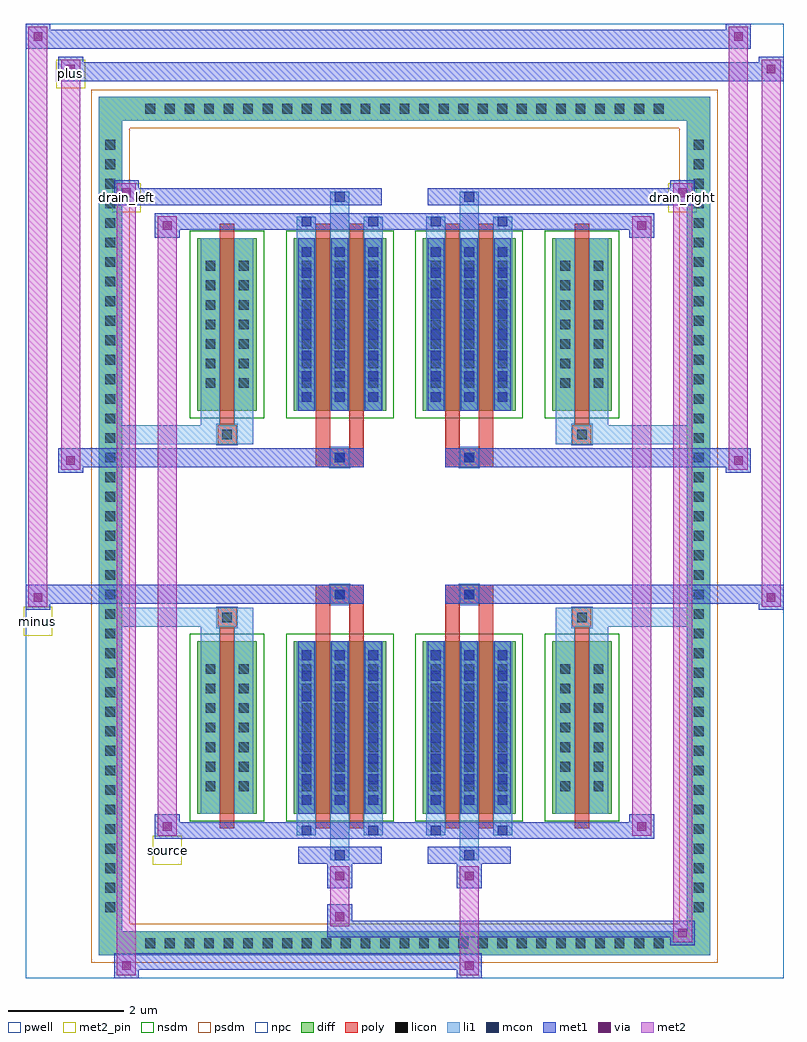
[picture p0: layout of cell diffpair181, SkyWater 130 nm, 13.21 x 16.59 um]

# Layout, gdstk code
import gdstk
lib = gdstk.Library(unit=1e-6, precision=5e-09)
def R(c, l, rs):  # rectangles x0, y0, x1, y1
    for r in rs: c.add(gdstk.rectangle(r[:2], r[2:], *l))
def A(c, l, x, y, w, h, nx, ny, dx, dy):  # array of equal rectangles
    R(c, l, [(x+i*dx, y+j*dy, x+i*dx+w, y+j*dy+h) for i in range(nx) for j in range(ny)])
def P(c, l, *ps):  # polygons
    for p in ps: c.add(gdstk.Polygon(p, *l))
pwell = (64, 44)
diff = (65, 20)
poly = (66, 20)
licon = (66, 44)
li1 = (67, 20)
mcon = (67, 44)
met1 = (68, 20)
via = (68, 44)
met2_pin = (69, 16)
met2 = (69, 20)
nsdm = (93, 44)
psdm = (94, 20)
npc = (95, 20)

diffpair181 = lib.new_cell('diffpair181')
R(diffpair181, pwell, [(-6.59,-7.86,6.59,8.73), (-3.91,-6.05,-0.01,-0.825), (0.01,-6.05,3.91,-0.825), (-3.91,0.825,-0.01,6.05), (0.01,0.825,3.91,6.05)])
A(diffpair181, diff, -4.625, -7.46, 0.41, 0.41, 27, 2, 0.34, 14.51)
A(diffpair181, diff, -5.32, -6.835, 0.41, 0.41, 1, 40, 0, 0.34)
A(diffpair181, diff, 4.91, -6.835, 0.41, 0.41, 1, 40, 0, 0.34)
R(diffpair181, diff, [(-4.625,-7.46,4.625,-7.05), (-5.32,-6.835,-4.91,6.835), (4.91,-6.835,5.32,6.835), (-3.6,-5.005,-2.57,-2.005), (-1.93,-5.005,-0.32,-2.005), (0.32,-5.005,1.93,-2.005), (2.57,-5.005,3.6,-2.005), (-3.6,2.005,-2.57,5.005), (-1.93,2.005,-0.32,5.005), (0.32,2.005,1.93,5.005), (2.57,2.005,3.6,5.005), (-4.625,7.05,4.625,7.46)])
P(diffpair181, diff, [(5.32,7.46),(-5.32,7.46),(-5.32,-7.05),(-4.91,-7.05),(-4.91,7.05),(4.91,7.05),(4.91,-7.05),(-4.91,-7.05),(-5.32,-7.05),(-5.32,-7.46),(5.32,-7.46)])
R(diffpair181, poly, [(-3.21,-5.255,-2.96,-1.755), (-1.54,-5.255,-1.29,-1.755), (-0.96,-5.255,-0.71,-1.755), (0.71,-5.255,0.96,-1.755), (1.29,-5.255,1.54,-1.755), (2.96,-5.255,3.21,-1.755), (-3.25,-1.755,-2.92,-1.425), (-3.25,-1.755,-2.92,-1.425), (-1.54,-1.755,-1.29,-1.355), (-0.96,-1.755,-0.71,-1.355), (0.71,-1.755,0.96,-1.355), (1.29,-1.755,1.54,-1.355), (2.92,-1.755,3.25,-1.425), (2.92,-1.755,3.25,-1.425), (-1.54,-1.355,-0.71,-1.025), (-1.29,-1.355,-0.96,-1.025), (0.71,-1.355,1.54,-1.025), (0.96,-1.355,1.29,-1.025), (-1.54,1.025,-0.71,1.355), (-1.29,1.025,-0.96,1.355), (0.71,1.025,1.54,1.355), (0.96,1.025,1.29,1.355), (-1.54,1.355,-1.29,1.755), (-0.96,1.355,-0.71,1.755), (0.71,1.355,0.96,1.755), (1.29,1.355,1.54,1.755), (-3.25,1.425,-2.92,1.755), (-3.25,1.425,-2.92,1.755), (2.92,1.425,3.25,1.755), (2.92,1.425,3.25,1.755), (-3.21,1.755,-2.96,5.255), (-1.54,1.755,-1.29,5.255), (-0.96,1.755,-0.71,5.255), (0.71,1.755,0.96,5.255), (1.29,1.755,1.54,5.255), (2.96,1.755,3.21,5.255)])
A(diffpair181, licon, -4.505, -7.34, 0.17, 0.17, 27, 2, 0.34, 14.51)
A(diffpair181, licon, -5.2, -6.715, 0.17, 0.17, 1, 40, 0, 0.34)
A(diffpair181, licon, 5.03, -6.715, 0.17, 0.17, 1, 40, 0, 0.34)
A(diffpair181, licon, -3.46, -4.61, 0.17, 0.17, 1, 7, 0, 0.34)
A(diffpair181, licon, -2.88, -4.61, 0.17, 0.17, 1, 7, 0, 0.34)
A(diffpair181, licon, -1.79, -4.61, 0.17, 0.17, 3, 7, 0.58, 0.34)
A(diffpair181, licon, 0.46, -4.61, 0.17, 0.17, 3, 7, 0.58, 0.34)
A(diffpair181, licon, 2.71, -4.61, 0.17, 0.17, 1, 7, 0, 0.34)
A(diffpair181, licon, 3.29, -4.61, 0.17, 0.17, 1, 7, 0, 0.34)
A(diffpair181, licon, -3.46, 2.4, 0.17, 0.17, 1, 7, 0, 0.34)
A(diffpair181, licon, -2.88, 2.4, 0.17, 0.17, 1, 7, 0, 0.34)
A(diffpair181, licon, -1.79, 2.4, 0.17, 0.17, 3, 7, 0.58, 0.34)
A(diffpair181, licon, 0.46, 2.4, 0.17, 0.17, 3, 7, 0.58, 0.34)
A(diffpair181, licon, 2.71, 2.4, 0.17, 0.17, 1, 7, 0, 0.34)
A(diffpair181, licon, 3.29, 2.4, 0.17, 0.17, 1, 7, 0, 0.34)
R(diffpair181, licon, [(-3.17,-1.675,-3,-1.505), (3,-1.675,3.17,-1.505), (-1.21,-1.275,-1.04,-1.105), (1.04,-1.275,1.21,-1.105), (-1.21,1.105,-1.04,1.275), (1.04,1.105,1.21,1.275), (-3.17,1.505,-3,1.675), (3,1.505,3.17,1.675)])
A(diffpair181, li1, -4.585, -7.42, 0.33, 0.33, 27, 2, 0.34, 14.51)
A(diffpair181, li1, -5.28, -6.795, 0.33, 0.33, 1, 40, 0, 0.34)
A(diffpair181, li1, 4.95, -6.795, 0.33, 0.33, 1, 40, 0, 0.34)
A(diffpair181, li1, -1.87, -5.005, 0.33, 3, 3, 2, 0.58, 7.01)
A(diffpair181, li1, 0.38, -5.005, 0.33, 3, 3, 2, 0.58, 7.01)
A(diffpair181, li1, -1.79, -4.85, 0.17, 0.17, 3, 8, 0.58, 0.36)
A(diffpair181, li1, -1.79, -4.85, 0.17, 2.69, 3, 2, 0.58, 7.01)
A(diffpair181, li1, 0.46, -4.85, 0.17, 0.17, 3, 8, 0.58, 0.36)
A(diffpair181, li1, 0.46, -4.85, 0.17, 2.69, 3, 2, 0.58, 7.01)
A(diffpair181, li1, -3.54, -4.69, 0.33, 0.33, 1, 7, 0, 0.34)
A(diffpair181, li1, -2.96, -4.69, 0.33, 0.33, 1, 7, 0, 0.34)
A(diffpair181, li1, -1.87, -4.69, 0.33, 0.33, 3, 7, 0.58, 0.34)
A(diffpair181, li1, 0.38, -4.69, 0.33, 0.33, 3, 7, 0.58, 0.34)
A(diffpair181, li1, 2.63, -4.69, 0.33, 0.33, 1, 7, 0, 0.34)
A(diffpair181, li1, 3.21, -4.69, 0.33, 0.33, 1, 7, 0, 0.34)
A(diffpair181, li1, -1.79, 2.16, 0.17, 0.17, 3, 8, 0.58, 0.36)
A(diffpair181, li1, 0.46, 2.16, 0.17, 0.17, 3, 8, 0.58, 0.36)
A(diffpair181, li1, -3.54, 2.32, 0.33, 0.33, 1, 7, 0, 0.34)
A(diffpair181, li1, -2.96, 2.32, 0.33, 0.33, 1, 7, 0, 0.34)
A(diffpair181, li1, -1.87, 2.32, 0.33, 0.33, 3, 7, 0.58, 0.34)
A(diffpair181, li1, 0.38, 2.32, 0.33, 0.33, 3, 7, 0.58, 0.34)
A(diffpair181, li1, 2.63, 2.32, 0.33, 0.33, 1, 7, 0, 0.34)
A(diffpair181, li1, 3.21, 2.32, 0.33, 0.33, 1, 7, 0, 0.34)
R(diffpair181, li1, [(-5.32,-7.46,-4.91,-7.05), (-5.32,-7.46,-4.91,-7.05), (-4.91,-7.46,4.91,-7.05), (4.91,-7.46,5.32,-7.05), (4.91,-7.46,5.32,-7.05), (-5.32,-7.05,-4.91,7.05), (4.91,-7.05,5.32,7.05), (-1.29,-5.81,-0.96,-5.005), (-1.21,-5.81,-1.04,-5.64), (0.96,-5.81,1.29,-5.005), (1.04,-5.81,1.21,-5.64), (-1.87,-5.38,-1.54,-5.005), (-1.79,-5.38,-1.62,-5.21), (-0.71,-5.38,-0.38,-5.005), (-0.63,-5.38,-0.46,-5.21), (0.38,-5.38,0.71,-5.005), (0.46,-5.38,0.63,-5.21), (1.54,-5.38,1.87,-5.005), (1.62,-5.38,1.79,-5.21), (-3.54,-5.005,-3.21,-2.005), (-2.96,-5.005,-2.63,-2.005), (2.63,-5.005,2.96,-2.005), (3.21,-5.005,3.54,-2.005), (-3.54,-2.005,-3.21,-1.425), (-2.96,-2.005,-2.63,-1.425), (2.63,-2.005,2.96,-1.425), (3.21,-2.005,3.54,-1.425), (-5.32,-1.755,-3.25,-1.425), (-3.54,-1.755,-3.25,-1.425), (-3.25,-1.755,-2.92,-1.425), (-2.92,-1.755,-2.63,-1.425), (2.63,-1.755,2.92,-1.425), (2.92,-1.755,3.25,-1.425), (2.92,-1.755,5.32,-1.425), (3.25,-1.755,3.54,-1.425), (-1.29,-1.355,-0.96,-1.025), (0.96,-1.355,1.29,-1.025), (-1.29,1.025,-0.96,1.355), (0.96,1.025,1.29,1.355), (-5.32,1.425,-3.25,1.755), (-3.54,1.425,-3.25,1.755), (-3.54,1.425,-3.21,2.005), (-3.25,1.425,-2.92,1.755), (-2.96,1.425,-2.63,2.005), (-2.92,1.425,-2.63,1.755), (2.63,1.425,2.92,1.755), (2.63,1.425,2.96,2.005), (2.92,1.425,3.25,1.755), (2.92,1.425,5.32,1.755), (3.21,1.425,3.54,2.005), (3.25,1.425,3.54,1.755), (-3.54,2.005,-3.21,5.005), (-2.96,2.005,-2.63,5.005), (2.63,2.005,2.96,5.005), (3.21,2.005,3.54,5.005), (-1.87,5.005,-1.54,5.38), (-1.29,5.005,-0.96,5.81), (-0.71,5.005,-0.38,5.38), (0.38,5.005,0.71,5.38), (0.96,5.005,1.29,5.81), (1.54,5.005,1.87,5.38), (-1.79,5.21,-1.62,5.38), (-0.63,5.21,-0.46,5.38), (0.46,5.21,0.63,5.38), (1.62,5.21,1.79,5.38), (-1.21,5.64,-1.04,5.81), (1.04,5.64,1.21,5.81), (-5.32,7.05,-4.91,7.46), (-5.32,7.05,-4.91,7.46), (-4.91,7.05,4.91,7.46), (4.91,7.05,5.32,7.46), (4.91,7.05,5.32,7.46)])
A(diffpair181, mcon, -1.79, -4.85, 0.17, 0.17, 3, 8, 0.58, 0.36)
A(diffpair181, mcon, 0.46, -4.85, 0.17, 0.17, 3, 8, 0.58, 0.36)
A(diffpair181, mcon, -1.79, 2.16, 0.17, 0.17, 3, 8, 0.58, 0.36)
A(diffpair181, mcon, 0.46, 2.16, 0.17, 0.17, 3, 8, 0.58, 0.36)
R(diffpair181, mcon, [(-1.21,-5.81,-1.04,-5.64), (1.04,-5.81,1.21,-5.64), (-1.79,-5.38,-1.62,-5.21), (-0.63,-5.38,-0.46,-5.21), (0.46,-5.38,0.63,-5.21), (1.62,-5.38,1.79,-5.21), (-1.21,-1.275,-1.04,-1.105), (1.04,-1.275,1.21,-1.105), (-1.21,1.105,-1.04,1.275), (1.04,1.105,1.21,1.275), (-1.79,5.21,-1.62,5.38), (-0.63,5.21,-0.46,5.38), (0.46,5.21,0.63,5.38), (1.62,5.21,1.79,5.38), (-1.21,5.64,-1.04,5.81), (1.04,5.64,1.21,5.81)])
A(diffpair181, met1, -1.85, -5.005, 0.29, 3, 3, 2, 0.58, 7.01)
A(diffpair181, met1, 0.4, -5.005, 0.29, 3, 3, 2, 0.58, 7.01)
A(diffpair181, met1, -1.85, -4.91, 0.29, 0.29, 3, 8, 0.58, 0.36)
A(diffpair181, met1, 0.4, -4.91, 0.29, 0.29, 3, 8, 0.58, 0.36)
A(diffpair181, met1, -1.85, 2.1, 0.29, 0.29, 3, 8, 0.58, 0.36)
A(diffpair181, met1, 0.4, 2.1, 0.29, 0.29, 3, 8, 0.58, 0.36)
R(diffpair181, met1, [(-5.05,-7.86,-4.62,-7.43), (0.91,-7.86,1.34,-7.43), (-5.05,-7.72,1.34,-7.43), (4.62,-7.29,5.05,-6.86), (-1.34,-7.15,5.05,-6.86), (-1.34,-7.01,-0.91,-6.58), (-1.34,-6.3,-0.91,-5.87), (0.91,-6.3,1.34,-5.87), (-1.85,-5.87,-0.4,-5.58), (-1.27,-5.87,-0.98,-5.58), (0.4,-5.87,1.85,-5.58), (0.98,-5.87,1.27,-5.58), (-4.34,-5.44,-3.91,-5.01), (-4.34,-5.44,-1.85,-5.15), (-1.85,-5.44,-1.56,-5.15), (-1.85,-5.44,-0.4,-5.15), (-0.69,-5.44,-0.4,-5.15), (-0.4,-5.44,0.4,-5.15), (0.4,-5.44,0.69,-5.15), (0.4,-5.44,1.85,-5.15), (1.56,-5.44,1.85,-5.15), (1.85,-5.44,4.34,-5.15), (3.91,-5.44,4.34,-5.01), (-6.59,-1.455,-6.16,-1.025), (6.16,-1.455,6.59,-1.025), (-6.59,-1.355,-0.71,-1.025), (-1.54,-1.355,-0.71,-1.025), (0.71,-1.355,1.54,-1.025), (0.71,-1.355,6.59,-1.025), (-1.27,-1.335,-0.98,-1.045), (0.98,-1.335,1.27,-1.045), (-6.02,0.925,-5.59,1.355), (5.59,0.925,6.02,1.355), (-6.02,1.025,-1.54,1.355), (-1.54,1.025,-0.71,1.355), (0.71,1.025,1.54,1.355), (1.54,1.025,6.02,1.355), (-1.27,1.045,-0.98,1.335), (0.98,1.045,1.27,1.335), (-4.34,5.01,-3.91,5.44), (3.91,5.01,4.34,5.44), (-4.34,5.15,-1.85,5.44), (-1.85,5.15,-1.56,5.44), (-1.85,5.15,-0.4,5.44), (-0.69,5.15,-0.4,5.44), (-0.4,5.15,0.4,5.44), (0.4,5.15,0.69,5.44), (0.4,5.15,1.85,5.44), (1.56,5.15,1.85,5.44), (1.85,5.15,4.34,5.44), (-5.05,5.58,-4.62,6.01), (-5.05,5.58,-1.85,5.87), (-1.85,5.58,-0.4,5.87), (-1.27,5.58,-0.98,5.87), (0.4,5.58,1.85,5.87), (0.98,5.58,1.27,5.87), (1.85,5.58,5.05,5.87), (4.62,5.58,5.05,6.01), (-6.02,7.73,-5.59,8.16), (-6.02,7.73,-3.91,8.06), (-3.91,7.73,3.91,8.06), (3.91,7.73,6.59,8.06), (6.16,7.73,6.59,8.16), (-6.59,8.3,-6.16,8.73), (-6.59,8.3,-3.91,8.63), (-3.91,8.3,3.91,8.63), (3.91,8.3,6.02,8.63), (5.59,8.3,6.02,8.73)])
R(diffpair181, via, [(-4.91,-7.72,-4.76,-7.57), (1.05,-7.72,1.2,-7.57), (4.76,-7.15,4.91,-7), (-1.2,-6.87,-1.05,-6.72), (-1.2,-6.16,-1.05,-6.01), (1.05,-6.16,1.2,-6.01), (-4.2,-5.3,-4.05,-5.15), (4.05,-5.3,4.2,-5.15), (-6.45,-1.315,-6.3,-1.165), (6.3,-1.315,6.45,-1.165), (-5.88,1.065,-5.73,1.215), (5.73,1.065,5.88,1.215), (-4.2,5.15,-4.05,5.3), (4.05,5.15,4.2,5.3), (-4.91,5.72,-4.76,5.87), (4.76,5.72,4.91,5.87), (-5.88,7.87,-5.73,8.02), (6.3,7.87,6.45,8.02), (-6.45,8.44,-6.3,8.59), (5.73,8.44,5.88,8.59)])
R(diffpair181, met2_pin, [(-4.375,-5.89,-3.875,-5.39), (-6.625,-1.905,-6.125,-1.405), (-5.085,5.46,-4.585,5.96), (4.585,5.46,5.085,5.96), (-6.055,7.61,-5.555,8.11)])
R(diffpair181, met2, [(-5,-7.81,-4.67,-7.48), (-5,-7.81,-4.67,5.96), (0.96,-7.81,1.29,-7.48), (0.96,-7.48,1.29,-6.25), (4.67,-7.24,5,-6.91), (4.67,-7.24,5,5.96), (-1.29,-6.96,-0.96,-6.63), (-1.29,-6.63,-0.96,-6.25), (-1.29,-6.25,-0.96,-5.92), (0.96,-6.25,1.29,-5.92), (-4.29,-5.39,-3.96,-5.06), (-4.29,-5.39,-3.96,5.39), (3.96,-5.39,4.29,-5.06), (3.96,-5.39,4.29,5.39), (-6.54,-1.405,-6.21,-1.075), (-6.54,-1.405,-6.21,8.68), (6.21,-1.405,6.54,-1.075), (6.21,-1.405,6.54,8.11), (-5.97,0.975,-5.64,1.305), (-5.97,0.975,-5.64,8.11), (5.64,0.975,5.97,1.305), (5.64,0.975,5.97,8.68), (-4.29,5.06,-3.96,5.39), (3.96,5.06,4.29,5.39), (-5,5.63,-4.67,5.96), (4.67,5.63,5,5.96), (-5.97,7.78,-5.64,8.11), (6.21,7.78,6.54,8.11), (-6.54,8.35,-6.21,8.68), (5.64,8.35,5.97,8.68)])
P(diffpair181, met2, [(6.54,-1.405),(6.54,-1.405),(6.54,-1.075),(6.54,-1.075)],
  [(6.54,7.78),(6.54,7.78),(6.54,8.11),(6.54,8.11)],
  [(-6.21,-1.405),(-6.21,-1.405),(-6.21,-1.075),(-6.21,-1.075)],
  [(-6.21,8.35),(-6.21,8.35),(-6.21,8.68),(-6.21,8.68)],
  [(5.97,0.975),(5.97,0.975),(5.97,1.305),(5.97,1.305)],
  [(5.97,8.35),(5.97,8.35),(5.97,8.68),(5.97,8.68)],
  [(-5.64,0.975),(-5.64,0.975),(-5.64,1.305),(-5.64,1.305)],
  [(-5.64,7.78),(-5.64,7.78),(-5.64,8.11),(-5.64,8.11)],
  [(-4.67,-7.81),(-4.67,-7.81),(-4.67,-7.48),(-4.67,-7.48)],
  [(-4.67,5.63),(-4.67,5.63),(-4.67,5.96),(-4.67,5.96)],
  [(5,-7.24),(5,-7.24),(5,-6.91),(5,-6.91)],
  [(5,5.63),(5,5.63),(5,5.96),(5,5.96)],
  [(-3.96,-5.39),(-3.96,-5.39),(-3.96,-5.06),(-3.96,-5.06)],
  [(-3.96,5.06),(-3.96,5.06),(-3.96,5.39),(-3.96,5.39)],
  [(4.29,-5.39),(4.29,-5.39),(4.29,-5.06),(4.29,-5.06)],
  [(4.29,5.06),(4.29,5.06),(4.29,5.39),(4.29,5.39)])
R(diffpair181, nsdm, [(-3.73,-5.135,-2.44,-1.875), (-2.06,-5.135,-0.19,-1.875), (0.19,-5.135,2.06,-1.875), (2.44,-5.135,3.73,-1.875), (-3.73,1.875,-2.44,5.135), (-2.06,1.875,-0.19,5.135), (0.19,1.875,2.06,5.135), (2.44,1.875,3.73,5.135)])
P(diffpair181, psdm, [(5.45,7.59),(-5.45,7.59),(-5.45,-6.92),(-4.78,-6.92),(-4.78,6.92),(4.78,6.92),(4.78,-6.92),(-4.78,-6.92),(-5.45,-6.92),(-5.45,-7.59),(5.45,-7.59)])
R(diffpair181, npc, [(-3.27,-1.775,-2.9,-1.405), (2.9,-1.775,3.27,-1.405), (-1.31,-1.375,-0.94,-1.005), (0.94,-1.375,1.31,-1.005), (-1.31,1.005,-0.94,1.375), (0.94,1.005,1.31,1.375), (-3.27,1.405,-2.9,1.775), (2.9,1.405,3.27,1.775)])
diffpair181.add(gdstk.Label('minus', (-6.375,-1.655), layer=69, texttype=5))
diffpair181.add(gdstk.Label('drain_right', (4.835,5.71), layer=69, texttype=5))
diffpair181.add(gdstk.Label('drain_left', (-4.835,5.71), layer=69, texttype=5))
diffpair181.add(gdstk.Label('source', (-4.125,-5.64), layer=69, texttype=5))
diffpair181.add(gdstk.Label('plus', (-5.805,7.86), layer=69, texttype=5))

lib.write_gds('diffpair181.gds')
